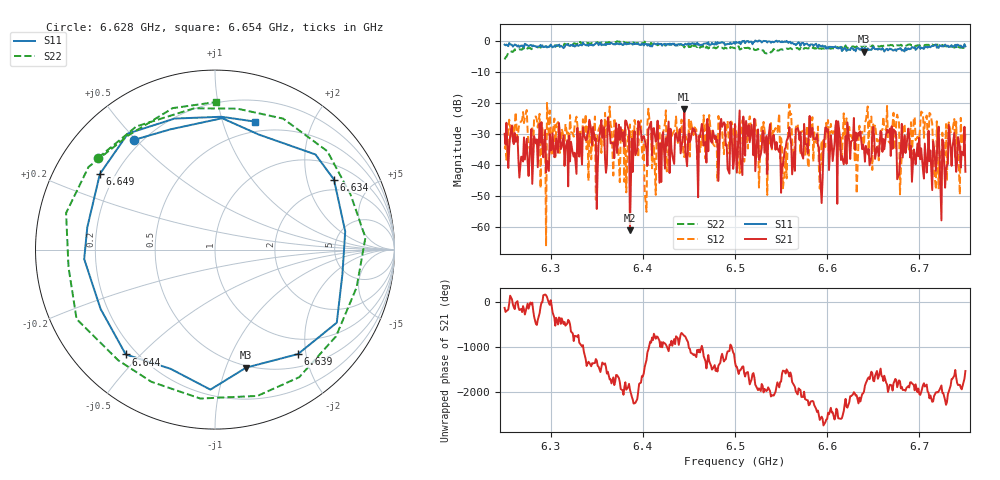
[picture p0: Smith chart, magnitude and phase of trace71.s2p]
# Hz S RI R 50
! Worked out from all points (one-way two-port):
!   401 points, 6.25 GHz to 6.75 GHz, reference 50 ohm
!   highest |S21| = -21.90 dB at 6.445 GHz (marker M1); lowest = -60.9 dB at 6.386 GHz (marker M2)
!   lowest |S11| = -3.4 dB at 6.64 GHz (marker M3), VSWR 5.25, Z = 24.1 - j59 ohm
!   |S11| at or under -10 dB: nowhere
!   |S22| runs from -5.9 to 0.0 dB; largest |S21 - S12| = 0.12
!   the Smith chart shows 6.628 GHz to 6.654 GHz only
!   S11 on the Smith chart (normalised r, x): 6.628 GHz: 0.17, +0.49; 6.634 GHz: 1.53, +2.93; 6.639 GHz: 0.71, -1.85; 6.644 GHz: 0.16, -0.45; 6.649 GHz: 0.14, +0.29; 6.654 GHz: 0.40, +1.28
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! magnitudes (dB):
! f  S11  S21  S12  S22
! 6.25 GHz  -1.1  -29.8  -34.6  -5.9
! 6.334 GHz  -1.4  -39.8  -31.9  -1.0
! 6.386 GHz  -0.7  -60.9  -26.9  -0.8
! 6.401 GHz  -1.4  -30.6  -32.6  -0.9
! 6.418 GHz  -0.9  -45.6  -27.2  -1.0
! 6.445 GHz  -1.2  -21.9  -37.4  -2.1
! 6.5 GHz  -0.9  -26.7  -26.9  -2.3
! 6.545 GHz  0.1  -32.5  -29.0  -2.8
! 6.554 GHz  -0.1  -34.8  -42.1  -2.6
! 6.56 GHz  -0.2  -31.1  -23.8  -2.3
! 6.584 GHz  -1.0  -27.8  -24.5  -2.5
! 6.594 GHz  -1.8  -52.2  -32.1  -2.5
! 6.599 GHz  -2.5  -27.8  -26.3  -2.1
! 6.628 GHz  -2.4  -31.8  -32.3  -1.6
! 6.634 GHz  -2.3  -29.5  -32.5  -1.6
! 6.639 GHz  -2.6  -33.3  -32.3  -1.6
! 6.64 GHz  -3.4  -34.8  -33.4  -1.4
! 6.644 GHz  -2.3  -36.3  -21.1  -1.8
! 6.649 GHz  -2.3  -29.1  -41.5  -1.4
! 6.654 GHz  -2.5  -34.0  -32.2  -1.7
! 6.668 GHz  -2.4  -28.2  -32.8  -1.4
! 6.75 GHz  -1.7  -42.1  -29.1  -2.3
